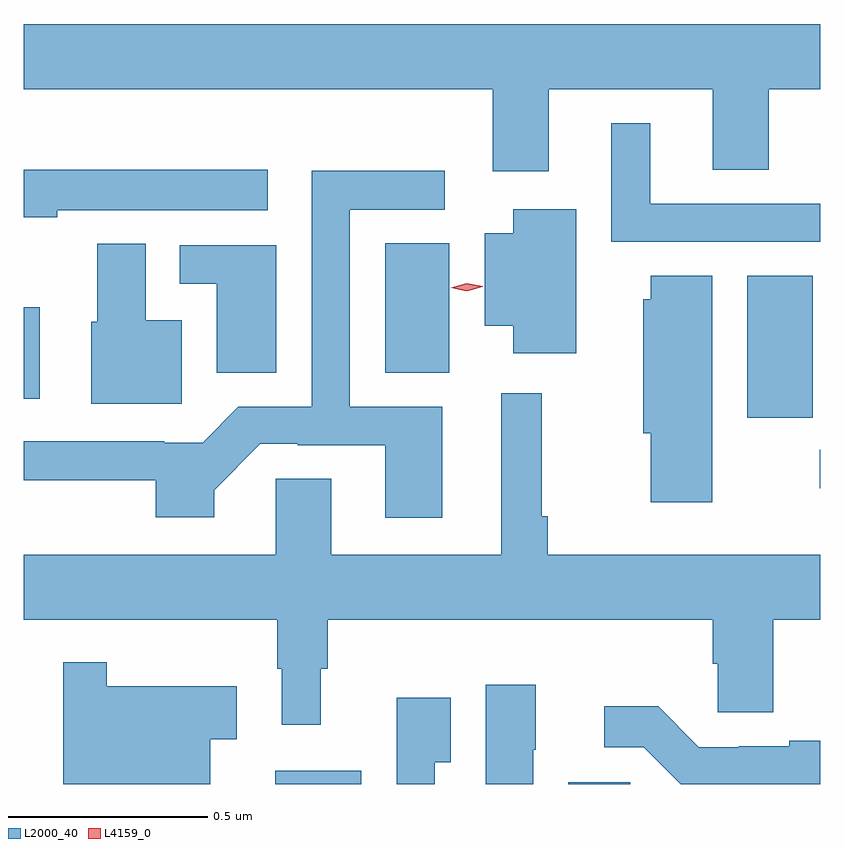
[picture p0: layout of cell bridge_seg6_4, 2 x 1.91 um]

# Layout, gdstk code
import gdstk
lib = gdstk.Library(unit=1e-6, precision=1e-09)
def R(c, l, rs):  # rectangles x0, y0, x1, y1
    for r in rs: c.add(gdstk.rectangle(r[:2], r[2:], *l))
def P(c, l, *ps):  # polygons
    for p in ps: c.add(gdstk.Polygon(p, *l))
L2000_40 = (2000, 40)
L4159_0 = (4159, 0)

bridge_seg6_4 = lib.new_cell('bridge_seg6_4')
R(bridge_seg6_4, L2000_40, [(1002.437,948.256,1002.652,948.289), (1003.172,948.256,1003.328,948.261), (1003.803,948.998,1003.805,949.095), (1003.622,949.176,1003.786,949.532), (1001.805,949.223,1001.845,949.453), (1002.713,949.288,1002.874,949.613)])
P(bridge_seg6_4, L2000_40, [(1003.123,950),(1003.535,950),(1003.535,949.798),(1003.675,949.798),(1003.675,950),(1003.805,950),(1003.805,950.164),(1001.805,950.164),(1001.805,950),(1002.983,950),(1002.983,949.794),(1003.123,949.794)],
  [(1003.805,949.713),(1003.378,949.713),(1003.378,949.915),(1003.28,949.915),(1003.28,949.617),(1003.805,949.617)],
  [(1001.889,949.697),(1002.418,949.697),(1002.418,949.798),(1001.805,949.798),(1001.805,949.679),(1001.889,949.679)],
  [(1002.856,949.203),(1002.624,949.203),(1002.624,949.698),(1002.862,949.698),(1002.862,949.796),(1002.528,949.796),(1002.528,949.203),(1002.344,949.203),(1002.254,949.113),(1002.158,949.113),(1002.158,949.116),(1001.805,949.116),(1001.805,949.019),(1002.136,949.019),(1002.136,948.926),(1002.283,948.926),(1002.283,948.994),(1002.399,949.11),(1002.493,949.11),(1002.493,949.107),(1002.713,949.107),(1002.713,948.924),(1002.856,948.924)],
  [(1003.192,949.699),(1003.034,949.699),(1003.034,949.639),(1002.962,949.639),(1002.962,949.406),(1003.034,949.406),(1003.034,949.338),(1003.192,949.338)],
  [(1002.202,949.42),(1002.112,949.42),(1002.112,949.612),(1001.99,949.612),(1001.99,949.416),(1001.975,949.416),(1001.975,949.211),(1002.202,949.211)],
  [(1002.439,949.608),(1002.197,949.608),(1002.197,949.512),(1002.29,949.512),(1002.29,949.288),(1002.439,949.288)],
  [(1003.534,949.532),(1003.379,949.532),(1003.379,949.473),(1003.361,949.473),(1003.361,949.137),(1003.379,949.137),(1003.379,948.963),(1003.534,948.963)],
  [(1002.551,948.545),(1002.569,948.545),(1002.569,948.668),(1003.535,948.668),(1003.535,948.558),(1003.548,948.558),(1003.548,948.436),(1003.687,948.436),(1003.687,948.668),(1003.805,948.668),(1003.805,948.832),(1003.121,948.832),(1003.121,948.928),(1003.106,948.928),(1003.106,949.237),(1003.004,949.237),(1003.004,948.832),(1002.577,948.832),(1002.577,949.022),(1002.438,949.022),(1002.438,948.832),(1001.805,948.832),(1001.805,948.668),(1002.441,948.668),(1002.441,948.545),(1002.453,948.545),(1002.453,948.405),(1002.551,948.405)],
  [(1002.274,948.368),(1002.34,948.368),(1002.34,948.502),(1002.013,948.502),(1002.013,948.562),(1001.904,948.562),(1001.904,948.256),(1002.274,948.256)],
  [(1003.084,948.342),(1003.09,948.342),(1003.09,948.505),(1002.965,948.505),(1002.965,948.256),(1003.084,948.256)],
  [(1002.837,948.311),(1002.877,948.311),(1002.877,948.472),(1002.741,948.472),(1002.741,948.256),(1002.837,948.256)],
  [(1003.805,948.364),(1003.727,948.364),(1003.727,948.351),(1003.6,948.351),(1003.6,948.348),(1003.5,948.348),(1003.398,948.451),(1003.263,948.451),(1003.263,948.348),(1003.362,948.348),(1003.454,948.256),(1003.805,948.256)])
P(bridge_seg6_4, L4159_0, [(1002.917,949.493),(1002.877,949.502),(1002.877,949.502),(1002.877,949.502),(1002.917,949.513),(1002.957,949.505),(1002.957,949.504),(1002.957,949.504)])

lib.write_gds('bridge_seg6_4.gds')
